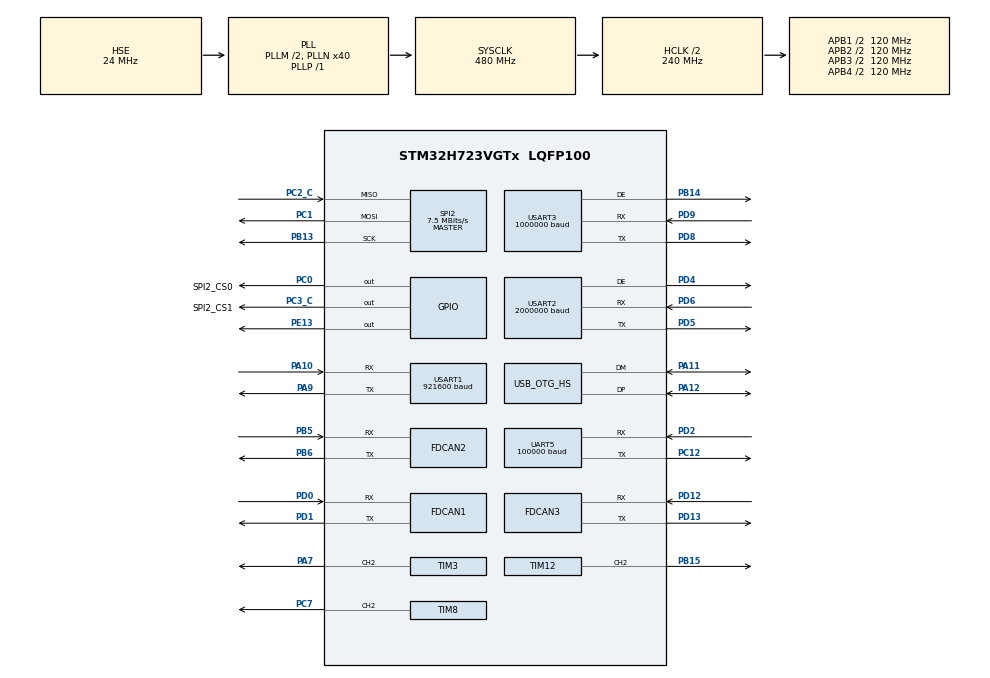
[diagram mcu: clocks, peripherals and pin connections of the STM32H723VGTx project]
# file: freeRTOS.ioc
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Dma.Request0=SPI2_RX
Dma.Request1=SPI2_TX
Dma.Request2=UART5_RX
Dma.Request3=UART5_TX
Dma.Request4=TIM3_CH2
Dma.Request5=USART1_RX
Dma.Request6=USART2_TX
Dma.Request7=USART2_RX
Dma.SPI2_RX.0.Direction=DMA_PERIPH_TO_MEMORY
Dma.SPI2_RX.0.EventEnable=DISABLE
Dma.SPI2_RX.0.FIFOMode=DMA_FIFOMODE_DISABLE
Dma.SPI2_RX.0.Instance=DMA1_Stream0
Dma.SPI2_RX.0.MemDataAlignment=DMA_MDATAALIGN_BYTE
Dma.SPI2_RX.0.MemInc=DMA_MINC_ENABLE
Dma.SPI2_RX.0.Mode=DMA_NORMAL
Dma.SPI2_RX.0.PeriphDataAlignment=DMA_PDATAALIGN_BYTE
Dma.SPI2_RX.0.PeriphInc=DMA_PINC_DISABLE
Dma.SPI2_RX.0.Polarity=HAL_DMAMUX_REQ_GEN_RISING
Dma.SPI2_RX.0.Priority=DMA_PRIORITY_VERY_HIGH
Dma.SPI2_RX.0.RequestNumber=1
Dma.SPI2_RX.0.SignalID=NONE
Dma.SPI2_RX.0.SyncEnable=DISABLE
Dma.SPI2_RX.0.SyncPolarity=HAL_DMAMUX_SYNC_NO_EVENT
Dma.SPI2_RX.0.SyncRequestNumber=1
Dma.SPI2_RX.0.SyncSignalID=NONE
Dma.SPI2_TX.1.Direction=DMA_MEMORY_TO_PERIPH
Dma.SPI2_TX.1.EventEnable=DISABLE
Dma.SPI2_TX.1.FIFOMode=DMA_FIFOMODE_DISABLE
Dma.SPI2_TX.1.Instance=DMA1_Stream1
Dma.SPI2_TX.1.MemDataAlignment=DMA_MDATAALIGN_BYTE
Dma.SPI2_TX.1.MemInc=DMA_MINC_ENABLE
Dma.SPI2_TX.1.Mode=DMA_NORMAL
Dma.SPI2_TX.1.PeriphDataAlignment=DMA_PDATAALIGN_BYTE
Dma.SPI2_TX.1.PeriphInc=DMA_PINC_DISABLE
Dma.SPI2_TX.1.Polarity=HAL_DMAMUX_REQ_GEN_RISING
Dma.SPI2_TX.1.Priority=DMA_PRIORITY_HIGH
Dma.SPI2_TX.1.RequestNumber=1
Dma.SPI2_TX.1.SignalID=NONE
Dma.SPI2_TX.1.SyncEnable=DISABLE
Dma.SPI2_TX.1.SyncPolarity=HAL_DMAMUX_SYNC_NO_EVENT
Dma.SPI2_TX.1.SyncRequestNumber=1
Dma.SPI2_TX.1.SyncSignalID=NONE
Dma.TIM3_CH2.4.Direction=DMA_MEMORY_TO_PERIPH
Dma.TIM3_CH2.4.EventEnable=DISABLE
Dma.TIM3_CH2.4.FIFOMode=DMA_FIFOMODE_DISABLE
Dma.TIM3_CH2.4.Instance=DMA1_Stream4
Dma.TIM3_CH2.4.MemDataAlignment=DMA_MDATAALIGN_HALFWORD
Dma.TIM3_CH2.4.MemInc=DMA_MINC_ENABLE
Dma.TIM3_CH2.4.Mode=DMA_CIRCULAR
Dma.TIM3_CH2.4.PeriphDataAlignment=DMA_PDATAALIGN_HALFWORD
Dma.TIM3_CH2.4.PeriphInc=DMA_PINC_DISABLE
Dma.TIM3_CH2.4.Polarity=HAL_DMAMUX_REQ_GEN_RISING
Dma.TIM3_CH2.4.Priority=DMA_PRIORITY_LOW
Dma.TIM3_CH2.4.RequestNumber=1
Dma.TIM3_CH2.4.SignalID=NONE
Dma.TIM3_CH2.4.SyncEnable=DISABLE
Dma.TIM3_CH2.4.SyncPolarity=HAL_DMAMUX_SYNC_NO_EVENT
Dma.TIM3_CH2.4.SyncRequestNumber=1
Dma.TIM3_CH2.4.SyncSignalID=NONE
Dma.UART5_RX.2.Direction=DMA_PERIPH_TO_MEMORY
Dma.UART5_RX.2.EventEnable=DISABLE
Dma.UART5_RX.2.FIFOMode=DMA_FIFOMODE_DISABLE
Dma.UART5_RX.2.Instance=DMA1_Stream2
Dma.UART5_RX.2.MemDataAlignment=DMA_MDATAALIGN_BYTE
Dma.UART5_RX.2.MemInc=DMA_MINC_ENABLE
Dma.UART5_RX.2.Mode=DMA_NORMAL
Dma.UART5_RX.2.PeriphDataAlignment=DMA_PDATAALIGN_BYTE
Dma.UART5_RX.2.PeriphInc=DMA_PINC_DISABLE
Dma.UART5_RX.2.Polarity=HAL_DMAMUX_REQ_GEN_RISING
Dma.UART5_RX.2.Priority=DMA_PRIORITY_LOW
Dma.UART5_RX.2.RequestNumber=1
Dma.UART5_RX.2.SignalID=NONE
Dma.UART5_RX.2.SyncEnable=DISABLE
Dma.UART5_RX.2.SyncPolarity=HAL_DMAMUX_SYNC_NO_EVENT
Dma.UART5_RX.2.SyncRequestNumber=1
Dma.UART5_RX.2.SyncSignalID=NONE
Dma.UART5_TX.3.Direction=DMA_MEMORY_TO_PERIPH
Dma.UART5_TX.3.EventEnable=DISABLE
Dma.UART5_TX.3.FIFOMode=DMA_FIFOMODE_DISABLE
Dma.UART5_TX.3.Instance=DMA1_Stream3
Dma.UART5_TX.3.MemDataAlignment=DMA_MDATAALIGN_BYTE
Dma.UART5_TX.3.MemInc=DMA_MINC_ENABLE
Dma.UART5_TX.3.Mode=DMA_NORMAL
Dma.UART5_TX.3.PeriphDataAlignment=DMA_PDATAALIGN_BYTE
Dma.UART5_TX.3.PeriphInc=DMA_PINC_DISABLE
Dma.UART5_TX.3.Polarity=HAL_DMAMUX_REQ_GEN_RISING
Dma.UART5_TX.3.Priority=DMA_PRIORITY_LOW
Dma.UART5_TX.3.RequestNumber=1
Dma.UART5_TX.3.SignalID=NONE
Dma.UART5_TX.3.SyncEnable=DISABLE
Dma.UART5_TX.3.SyncPolarity=HAL_DMAMUX_SYNC_NO_EVENT
Dma.UART5_TX.3.SyncRequestNumber=1
Dma.UART5_TX.3.SyncSignalID=NONE
Dma.USART1_RX.5.Direction=DMA_PERIPH_TO_MEMORY
Dma.USART1_RX.5.EventEnable=DISABLE
Dma.USART1_RX.5.FIFOMode=DMA_FIFOMODE_DISABLE
Dma.USART1_RX.5.Instance=DMA2_Stream4
Dma.USART1_RX.5.MemDataAlignment=DMA_MDATAALIGN_BYTE
Dma.USART1_RX.5.MemInc=DMA_MINC_ENABLE
Dma.USART1_RX.5.Mode=DMA_NORMAL
Dma.USART1_RX.5.PeriphDataAlignment=DMA_PDATAALIGN_BYTE
Dma.USART1_RX.5.PeriphInc=DMA_PINC_DISABLE
Dma.USART1_RX.5.Polarity=HAL_DMAMUX_REQ_GEN_RISING
Dma.USART1_RX.5.Priority=DMA_PRIORITY_LOW
Dma.USART1_RX.5.RequestNumber=1
Dma.USART1_RX.5.SignalID=NONE
Dma.USART1_RX.5.SyncEnable=DISABLE
Dma.USART1_RX.5.SyncPolarity=HAL_DMAMUX_SYNC_NO_EVENT
Dma.USART1_RX.5.SyncRequestNumber=1
Dma.USART1_RX.5.SyncSignalID=NONE
Dma.USART2_RX.7.Direction=DMA_PERIPH_TO_MEMORY
Dma.USART2_RX.7.EventEnable=DISABLE
Dma.USART2_RX.7.FIFOMode=DMA_FIFOMODE_DISABLE
Dma.USART2_RX.7.Instance=DMA2_Stream0
Dma.USART2_RX.7.MemDataAlignment=DMA_MDATAALIGN_BYTE
Dma.USART2_RX.7.MemInc=DMA_MINC_ENABLE
Dma.USART2_RX.7.Mode=DMA_NORMAL
Dma.USART2_RX.7.PeriphDataAlignment=DMA_PDATAALIGN_BYTE
Dma.USART2_RX.7.PeriphInc=DMA_PINC_DISABLE
Dma.USART2_RX.7.Polarity=HAL_DMAMUX_REQ_GEN_RISING
Dma.USART2_RX.7.Priority=DMA_PRIORITY_LOW
Dma.USART2_RX.7.RequestNumber=1
Dma.USART2_RX.7.SignalID=NONE
Dma.USART2_RX.7.SyncEnable=DISABLE
Dma.USART2_RX.7.SyncPolarity=HAL_DMAMUX_SYNC_NO_EVENT
Dma.USART2_RX.7.SyncRequestNumber=1
Dma.USART2_RX.7.SyncSignalID=NONE
Dma.USART2_TX.6.Direction=DMA_MEMORY_TO_PERIPH
Dma.USART2_TX.6.EventEnable=DISABLE
Dma.USART2_TX.6.FIFOMode=DMA_FIFOMODE_DISABLE
Dma.USART2_TX.6.Instance=DMA1_Stream7
Dma.USART2_TX.6.MemDataAlignment=DMA_MDATAALIGN_BYTE
Dma.USART2_TX.6.MemInc=DMA_MINC_ENABLE
Dma.USART2_TX.6.Mode=DMA_NORMAL
Dma.USART2_TX.6.PeriphDataAlignment=DMA_PDATAALIGN_BYTE
Dma.USART2_TX.6.PeriphInc=DMA_PINC_DISABLE
Dma.USART2_TX.6.Polarity=HAL_DMAMUX_REQ_GEN_RISING
Dma.USART2_TX.6.Priority=DMA_PRIORITY_LOW
Dma.USART2_TX.6.RequestNumber=1
Dma.USART2_TX.6.SignalID=NONE
Dma.USART2_TX.6.SyncEnable=DISABLE
Dma.USART2_TX.6.SyncPolarity=HAL_DMAMUX_SYNC_NO_EVENT
Dma.USART2_TX.6.SyncRequestNumber=1
Dma.USART2_TX.6.SyncSignalID=NONE
FDCAN1.AutoRetransmission=DISABLE
FDCAN1.CalculateBaudRateNominal=1000000
FDCAN1.CalculateTimeBitNominal=1000
FDCAN1.CalculateTimeQuantumNominal=25.0
FDCAN1.DataPrescaler=1
FDCAN1.DataSyncJumpWidth=2
FDCAN1.DataTimeSeg1=13
FDCAN1.DataTimeSeg2=2
FDCAN1.ExtFiltersNbr=4
FDCAN1.NominalPrescaler=3
FDCAN1.NominalSyncJumpWidth=20
FDCAN1.NominalTimeSeg1=29
FDCAN1.NominalTimeSeg2=10
FDCAN1.ProtocolException=ENABLE
FDCAN1.RxBuffersNbr=2
FDCAN1.RxFifo0ElmtsNbr=8
FDCAN1.RxFifo1ElmtsNbr=8
FDCAN1.StdFiltersNbr=4
FDCAN1.TxBuffersNbr=8
FDCAN1.TxEventsNbr=8
FDCAN1.TxFifoQueueElmtsNbr=32
FDCAN2.AutoRetransmission=ENABLE
FDCAN2.CalculateBaudRateNominal=1000000
FDCAN2.CalculateTimeBitNominal=1000
FDCAN2.CalculateTimeQuantumNominal=25.0
FDCAN2.DataSyncJumpWidth=2
FDCAN2.DataTimeSeg1=13
FDCAN2.ExtFiltersNbr=4
FDCAN2.MessageRAMOffset=0x406
FDCAN2.NominalPrescaler=3
FDCAN2.NominalSyncJumpWidth=20
FDCAN2.NominalTimeSeg1=29
FDCAN2.NominalTimeSeg2=10
FDCAN2.ProtocolException=ENABLE
FDCAN2.RxBuffersNbr=3
FDCAN2.RxFifo0ElmtsNbr=8
FDCAN2.RxFifo1ElmtsNbr=8
FDCAN2.StdFiltersNbr=4
FDCAN2.TxBuffersNbr=8
FDCAN2.TxEventsNbr=8
FDCAN2.TxFifoQueueElmtsNbr=8
FDCAN3.CalculateBaudRateNominal=1000000
FDCAN3.CalculateTimeBitNominal=1000
FDCAN3.CalculateTimeQuantumNominal=25.0
FDCAN3.DataPrescaler=3
FDCAN3.DataSyncJumpWidth=10
FDCAN3.DataTimeSeg1=29
FDCAN3.DataTimeSeg2=10
FDCAN3.MessageRAMOffset=0x812
FDCAN3.NominalPrescaler=3
FDCAN3.NominalSyncJumpWidth=10
FDCAN3.NominalTimeSeg1=29
FDCAN3.NominalTimeSeg2=10
FDCAN3.ProtocolException=ENABLE
FDCAN3.RxFifo0ElmtsNbr=4
FDCAN3.StdFiltersNbr=1
FDCAN3.TxEventsNbr=0
FDCAN3.TxFifoQueueElmtsNbr=4
FREERTOS.INCLUDE_pcTaskGetTaskName=1
FREERTOS.INCLUDE_xSemaphoreGetMutexHolder=1
FREERTOS.INCLUDE_xTaskAbortDelay=1
FREERTOS.INCLUDE_xTaskGetCurrentTaskHandle=1
FREERTOS.INCLUDE_xTaskGetHandle=1
FREERTOS.Tasks01=defaultTask,0,2048,StartDefaultTask,As weak,NULL,Dynamic,NULL,NULL;IMUTask,1,1024,OS_IMUCallback,As weak,NULL,Dynamic,NULL,NULL;LEDTask,-1,128,OS_LedCallback,As weak,NULL,Dynamic,NULL,NULL;MotorTask,0,512,OS_MotorCallback,As weak,NULL,Dynamic,NULL,NULL;ChassisTask,0,1024,OS_ChassisCallback,As weak,NULL,Dynamic,NULL,NULL;RcTask,1,256,OS_RcCallback,As weak,NULL,Dynamic,NULL,NULL;ErrorTask,3,1024,OS_ErrorCallback,As weak,NULL,Dynamic,NULL,NULL;GimbalTask,0,512,OS_GimbalCallback,As weak,NULL,Dynamic,NULL,NULL;ShooterTask,0,512,OS_ShooterCallback,As weak,NULL,Dynamic,NULL,NULL;VisionTask,0,1024,OS_VisionCallback,As weak,NULL,Dynamic,NULL,NULL;JudgeTask,0,1024,OS_JudgeCallback,As weak,NULL,Dynamic,NULL,NULL;DetectTask,0,128,OS_DetectCallback,As weak,NULL,Dynamic,NULL,NULL;BeepTask,0,128,OS_BeepCallback,As weak,NULL,Dynamic,NULL,NULL;SuperCapTask,0,256,OS_SuperCapCallback,As weak,NULL,Dynamic,NULL,NULL;rmvisionTask,-1,512,OS_RmVisionCallBack,As weak,NULL,Dynamic,NULL,NULL;UITask,0,2048,OS_UICallBack,As weak,NULL,Dynamic,NULL,NULL;RS485Task,0,128,OS_Board2BoardCallback,As weak,NULL,Dynamic,NULL,NULL
FREERTOS.configCHECK_FOR_STACK_OVERFLOW=0
FREERTOS.configMAX_CO_ROUTINE_PRIORITIES=5
FREERTOS.configTOTAL_HEAP_SIZE=100000
Mcu.Family=STM32H7
Mcu.Name=STM32H723VGTx
Mcu.Package=LQFP100
NVIC.DMA1_Stream0_IRQn=true\:5\:0\:false\:false\:true\:true\:false\:true\:true
NVIC.DMA1_Stream1_IRQn=true\:5\:0\:false\:false\:true\:true\:false\:true\:true
NVIC.DMA1_Stream2_IRQn=true\:5\:0\:false\:false\:true\:true\:false\:true\:true
NVIC.DMA1_Stream3_IRQn=true\:5\:0\:false\:false\:true\:true\:false\:true\:true
NVIC.DMA1_Stream4_IRQn=true\:5\:0\:false\:false\:true\:true\:false\:true\:true
NVIC.DMA1_Stream7_IRQn=true\:5\:0\:false\:false\:true\:true\:false\:true\:true
NVIC.DMA2_Stream0_IRQn=true\:5\:0\:false\:false\:true\:true\:false\:true\:true
NVIC.DMA2_Stream4_IRQn=true\:5\:0\:false\:false\:true\:true\:false\:true\:true
NVIC.FDCAN1_IT0_IRQn=true\:5\:0\:false\:false\:true\:true\:true\:true\:true
NVIC.FDCAN1_IT1_IRQn=true\:5\:0\:false\:false\:true\:true\:true\:true\:true
NVIC.FDCAN2_IT0_IRQn=true\:5\:0\:false\:false\:true\:true\:true\:true\:true
NVIC.FDCAN2_IT1_IRQn=true\:5\:0\:false\:false\:true\:true\:true\:true\:true
NVIC.FDCAN3_IT0_IRQn=true\:5\:0\:false\:false\:true\:true\:true\:true\:true
NVIC.FDCAN3_IT1_IRQn=true\:5\:0\:false\:false\:true\:true\:true\:true\:true
NVIC.OTG_HS_IRQn=true\:5\:0\:false\:false\:true\:true\:false\:true\:true
NVIC.PriorityGroup=NVIC_PRIORITYGROUP_4
NVIC.SPI2_IRQn=true\:5\:0\:false\:false\:true\:true\:true\:true\:true
NVIC.TIM2_IRQn=true\:15\:0\:false\:false\:true\:false\:false\:true\:true
NVIC.TIM8_BRK_TIM12_IRQn=true\:5\:0\:false\:false\:true\:true\:true\:true\:true
NVIC.TimeBase=TIM2_IRQn
NVIC.TimeBaseIP=TIM2
NVIC.UART5_IRQn=true\:5\:0\:false\:false\:true\:true\:true\:true\:true
NVIC.USART1_IRQn=true\:5\:0\:false\:false\:true\:true\:true\:true\:true
NVIC.USART2_IRQn=true\:5\:0\:false\:false\:true\:true\:true\:true\:true
NVIC.USART3_IRQn=true\:5\:0\:false\:false\:true\:true\:true\:true\:true
PA10.Mode=Asynchronous
PA10.Signal=USART1_RX
PA11.Mode=Device_Only_FS
PA11.Signal=USB_OTG_HS_DM
PA12.Mode=Device_Only_FS
PA12.Signal=USB_OTG_HS_DP
PA13(JTMS/SWDIO).Mode=Serial_Wire
PA13(JTMS/SWDIO).Signal=DEBUG_JTMS-SWDIO
PA14(JTCK/SWCLK).Mode=Serial_Wire
PA14(JTCK/SWCLK).Signal=DEBUG_JTCK-SWCLK
PA7.Signal=S_TIM3_CH2
PA9.Mode=Asynchronous
PA9.Signal=USART1_TX
PB13.GPIO_Speed=GPIO_SPEED_FREQ_VERY_HIGH
PB13.Mode=Full_Duplex_Master
PB13.Signal=SPI2_SCK
PB14.Mode=Hardware Flow Control (RS485)
PB14.Signal=USART3_DE
PB15.Signal=S_TIM12_CH2
PB5.Mode=FDCAN_Activate
PB5.Signal=FDCAN2_RX
PB6.Mode=FDCAN_Activate
PB6.Signal=FDCAN2_TX
PC0.GPIO_Label=SPI2_CS0
PC0.GPIO_PuPd=GPIO_NOPULL
PC0.GPIO_Speed=GPIO_SPEED_FREQ_HIGH
PC0.PinState=GPIO_PIN_SET
PC0.Signal=GPIO_Output
PC1.GPIO_Speed=GPIO_SPEED_FREQ_VERY_HIGH
PC1.Mode=Full_Duplex_Master
PC1.Signal=SPI2_MOSI
PC12.Mode=Asynchronous
PC12.Signal=UART5_TX
PC2_C.GPIO_Speed=GPIO_SPEED_FREQ_VERY_HIGH
PC2_C.Mode=Full_Duplex_Master
PC2_C.Signal=SPI2_MISO
PC3_C.GPIO_Label=SPI2_CS1
PC3_C.GPIO_PuPd=GPIO_NOPULL
PC3_C.GPIO_Speed=GPIO_SPEED_FREQ_HIGH
PC3_C.PinState=GPIO_PIN_SET
PC3_C.Signal=GPIO_Output
PC7.Signal=S_TIM8_CH2
PD0.Mode=FDCAN_Activate
PD0.Signal=FDCAN1_RX
PD1.Mode=FDCAN_Activate
PD1.Signal=FDCAN1_TX
PD12.Mode=FDCAN_Activate
PD12.Signal=FDCAN3_RX
PD13.Mode=FDCAN_Activate
PD13.Signal=FDCAN3_TX
PD2.Mode=Asynchronous
PD2.Signal=UART5_RX
PD4.Mode=Hardware Flow Control (RS485)
PD4.Signal=USART2_DE
PD5.Mode=Asynchronous
PD5.Signal=USART2_TX
PD6.Mode=Asynchronous
PD6.Signal=USART2_RX
PD8.Mode=Asynchronous
PD8.Signal=USART3_TX
PD9.Mode=Asynchronous
PD9.Signal=USART3_RX
PE13.GPIO_PuPd=GPIO_PULLDOWN
PE13.Signal=GPIO_Output
PH0-OSC_IN.Mode=HSE-External-Oscillator
PH0-OSC_IN.Signal=RCC_OSC_IN
PH1-OSC_OUT.Mode=HSE-External-Oscillator
PH1-OSC_OUT.Signal=RCC_OSC_OUT
ProjectManager.HeapSize=0x3000
ProjectManager.StackSize=0x3000
ProjectManager.TargetToolchain=CMake
RCC.ADCFreq_Value=48375000
RCC.APB1Freq_Value=120000000
RCC.APB2Freq_Value=120000000
RCC.APB3Freq_Value=120000000
RCC.APB4Freq_Value=120000000
RCC.CortexFreq_Value=480000000
RCC.D1PPRE=RCC_APB3_DIV2
RCC.D2PPRE1=RCC_APB1_DIV2
RCC.D2PPRE2=RCC_APB2_DIV2
RCC.D3PPRE=RCC_APB4_DIV2
RCC.DIVM1=2
RCC.DIVN1=40
RCC.DIVP1=1
RCC.DIVQ1=4
RCC.HCLKFreq_Value=240000000
RCC.HPRE=RCC_HCLK_DIV2
RCC.HSE_VALUE=24000000
RCC.PLLFRACN=0
RCC.PLLSourceVirtual=RCC_PLLSOURCE_HSE
RCC.SYSCLKFreq_VALUE=480000000
RCC.SYSCLKSource=RCC_SYSCLKSOURCE_PLLCLK
RCC.USBCLockSelection=RCC_USBCLKSOURCE_HSI48
RCC.USBFreq_Value=48000000
SH.S_TIM12_CH2.0=TIM12_CH2,PWM Generation2 CH2
SH.S_TIM3_CH2.0=TIM3_CH2,PWM Generation2 CH2
SH.S_TIM8_CH2.0=TIM8_CH2,PWM Generation2 CH2
SPI2.BaudRatePrescaler=SPI_BAUDRATEPRESCALER_16
SPI2.CLKPhase=SPI_PHASE_2EDGE
SPI2.CLKPolarity=SPI_POLARITY_HIGH
SPI2.CalculateBaudRate=7.5 MBits/s
SPI2.DataSize=SPI_DATASIZE_8BIT
SPI2.Direction=SPI_DIRECTION_2LINES
SPI2.Mode=SPI_MODE_MASTER
SPI2.VirtualType=VM_MASTER
TIM12.Channel-PWM\ Generation2\ CH2=TIM_CHANNEL_2
TIM12.Period=1000-1
TIM12.Prescaler=240-1
TIM3.Channel-PWM\ Generation2\ CH2=TIM_CHANNEL_2
TIM3.Period=299
TIM8.Channel-PWM\ Generation2\ CH2=TIM_CHANNEL_2
TIM8.Period=20000-1
TIM8.Prescaler=240-1
UART5.BaudRate=100000
UART5.Parity=PARITY_EVEN
UART5.WordLength=WORDLENGTH_9B
USART1.BaudRate=921600
USART1.VirtualMode-Asynchronous=VM_ASYNC
USART2.BaudRate=2000000
USART2.Parity=PARITY_EVEN
USART2.VirtualMode-Asynchronous=VM_ASYNC
USART2.VirtualMode-Hardware\ Flow\ Control\ (RS485)=VM_ASYNC
USART2.WordLength=WORDLENGTH_9B
USART3.BaudRate=1000000
USART3.Parity=PARITY_EVEN
USART3.VirtualMode-Asynchronous=VM_ASYNC
USART3.VirtualMode-Hardware\ Flow\ Control\ (RS485)=VM_ASYNC
USART3.WordLength=WORDLENGTH_9B
USB_DEVICE.CLASS_NAME_HS=CDC
USB_DEVICE.VirtualMode=Cdc
USB_DEVICE.VirtualModeHS=Cdc_HS
USB_OTG_HS.VirtualMode-Device_Only_FS=Device_Only_FS
VP_FREERTOS_VS_CMSIS_V1.Mode=CMSIS_V1
VP_MEMORYMAP_VS_MEMORYMAP.Mode=CurAppReg
VP_SYS_VS_tim2.Mode=TIM2
VP_USB_DEVICE_VS_USB_DEVICE_CDC_HS.Mode=CDC_HS
board=custom

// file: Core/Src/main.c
/* USER CODE BEGIN Header */
/**
  ******************************************************************************
  * @file           : main.c
  * @brief          : Main program body
  ******************************************************************************
  * @attention
  *
  * Copyright (c) 2025 STMicroelectronics.
  * All rights reserved.
  *
  * This software is licensed under terms that can be found in the LICENSE file
  * in the root directory of this software component.
  * If no LICENSE file comes with this software, it is provided AS-IS.
  *
  ******************************************************************************
  */
/* USER CODE END Header */
#include "main.h"
#include "cmsis_os.h"
#include "dma.h"
#include "fdcan.h"
#include "memorymap.h"
#include "spi.h"
#include "tim.h"
#include "usart.h"
#include "usb_device.h"
#include "gpio.h"

void SystemClock_Config(void);
void MX_FREERTOS_Init(void);
/* USER CODE BEGIN PFP */
#include "bsp_delay.h"
#include "stdio.h"
#include "ins_task.h"
#include "BMI088driver.h"
#include "bsp_dwt.h"
#include "USER_CAN.h"
#include "Chassis.h"
#include "Moto.h"
#include "RC.h"
#include "Gimbal.h"
#include "Shooter.h"
#include "Judge.h"
#include "Beep.h"
#include "Detect.h"
#include "Vision.h"
#include "RS485.h"
#include "Com.h"
# include "Board2Board.h"
/* USER CODE END PFP */

int main(void)
{

  /* MCU Configuration--------------------------------------------------------*/

  /* Reset of all peripherals, Initializes the Flash interface and the Systick. */

  HAL_Init();

  /* Configure the system clock */
  SystemClock_Config();

  /* Initialize all configured peripherals */
  MX_GPIO_Init();
  MX_DMA_Init();
  MX_FDCAN2_Init();
  MX_SPI2_Init();
  MX_TIM3_Init();
  MX_UART5_Init();
  MX_TIM8_Init();
  MX_USART2_UART_Init();
  MX_TIM12_Init();
  MX_FDCAN1_Init();
  MX_FDCAN3_Init();
  MX_USART3_UART_Init();
  MX_USART1_UART_Init();
  /* USER CODE BEGIN 2 */
  DWT_Init(480);
	while (BMI088_init(&hspi2, 0) != BMI088_NO_ERROR);
	RS485_Init();
//  JUDGE_Init();
  CAN_Init();
  RC_Init();
  INS_Init();
  Chassis_Init();
  Gimbal_Init();
  Beep_Init();
  Detect_InitAll();
  MX_USB_DEVICE_Init();
  /* USER CODE END 2 */

  /* Call init function for freertos objects (in cmsis_os2.c) */
  MX_FREERTOS_Init();

  /* Start scheduler */
  osKernelStart();

  /* We should never get here as control is now taken by the scheduler */

  /* Infinite loop */
  while (1)
  {

  }
}

void SystemClock_Config(void)
{
  RCC_OscInitTypeDef RCC_OscInitStruct = {0};
  RCC_ClkInitTypeDef RCC_ClkInitStruct = {0};

  /** Supply configuration update enable
  */
  HAL_PWREx_ConfigSupply(PWR_LDO_SUPPLY);

  /** Configure the main internal regulator output voltage
  */
  __HAL_PWR_VOLTAGESCALING_CONFIG(PWR_REGULATOR_VOLTAGE_SCALE0);

  while(!__HAL_PWR_GET_FLAG(PWR_FLAG_VOSRDY)) {}

  /** Initializes the RCC Oscillators according to the specified parameters
  * in the RCC_OscInitTypeDef structure.
  */
  RCC_OscInitStruct.OscillatorType = RCC_OSCILLATORTYPE_HSI48|RCC_OSCILLATORTYPE_HSE;
  RCC_OscInitStruct.HSEState = RCC_HSE_ON;
  RCC_OscInitStruct.HSI48State = RCC_HSI48_ON;
  RCC_OscInitStruct.PLL.PLLState = RCC_PLL_ON;
  RCC_OscInitStruct.PLL.PLLSource = RCC_PLLSOURCE_HSE;
  RCC_OscInitStruct.PLL.PLLM = 2;
  RCC_OscInitStruct.PLL.PLLN = 40;
  RCC_OscInitStruct.PLL.PLLP = 1;
  RCC_OscInitStruct.PLL.PLLQ = 4;
  RCC_OscInitStruct.PLL.PLLR = 2;
  RCC_OscInitStruct.PLL.PLLRGE = RCC_PLL1VCIRANGE_3;
  RCC_OscInitStruct.PLL.PLLVCOSEL = RCC_PLL1VCOWIDE;
  RCC_OscInitStruct.PLL.PLLFRACN = 0;
  if (HAL_RCC_OscConfig(&RCC_OscInitStruct) != HAL_OK)
  {
    Error_Handler();
  }

  /** Initializes the CPU, AHB and APB buses clocks
  */
  RCC_ClkInitStruct.ClockType = RCC_CLOCKTYPE_HCLK|RCC_CLOCKTYPE_SYSCLK
                              |RCC_CLOCKTYPE_PCLK1|RCC_CLOCKTYPE_PCLK2
                              |RCC_CLOCKTYPE_D3PCLK1|RCC_CLOCKTYPE_D1PCLK1;
  RCC_ClkInitStruct.SYSCLKSource = RCC_SYSCLKSOURCE_PLLCLK;
  RCC_ClkInitStruct.SYSCLKDivider = RCC_SYSCLK_DIV1;
  RCC_ClkInitStruct.AHBCLKDivider = RCC_HCLK_DIV2;
  RCC_ClkInitStruct.APB3CLKDivider = RCC_APB3_DIV2;
  RCC_ClkInitStruct.APB1CLKDivider = RCC_APB1_DIV2;
  RCC_ClkInitStruct.APB2CLKDivider = RCC_APB2_DIV2;
  RCC_ClkInitStruct.APB4CLKDivider = RCC_APB4_DIV2;

  if (HAL_RCC_ClockConfig(&RCC_ClkInitStruct, FLASH_LATENCY_3) != HAL_OK)
  {
    Error_Handler();
  }
}

void HAL_TIM_PeriodElapsedCallback(TIM_HandleTypeDef *htim)
{
  if (htim->Instance == TIM2)
  {
    HAL_IncTick();
  }
}

void Error_Handler(void)
{
  __disable_irq();
  while (1)
  {
  }
}

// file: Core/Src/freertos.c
/* USER CODE BEGIN Header */
/**
  ******************************************************************************
  * File Name          : freertos.c
  * Description        : Code for freertos applications
  ******************************************************************************
  * @attention
  *
  * Copyright (c) 2025 STMicroelectronics.
  * All rights reserved.
  *
  * This software is licensed under terms that can be found in the LICENSE file
  * in the root directory of this software component.
  * If no LICENSE file comes with this software, it is provided AS-IS.
  *
  ******************************************************************************
  */
/* USER CODE END Header */

#include "FreeRTOS.h"
#include "task.h"
#include "main.h"
#include "cmsis_os.h"

osThreadId defaultTaskHandle;
osThreadId IMUTaskHandle;
osThreadId LEDTaskHandle;
osThreadId MotorTaskHandle;
osThreadId ChassisTaskHandle;
osThreadId RcTaskHandle;
osThreadId ErrorTaskHandle;
osThreadId GimbalTaskHandle;
osThreadId ShooterTaskHandle;
osThreadId VisionTaskHandle;
osThreadId JudgeTaskHandle;
osThreadId DetectTaskHandle;
osThreadId BeepTaskHandle;
osThreadId SuperCapTaskHandle;
osThreadId rmvisionTaskHandle;
osThreadId UITaskHandle;
osThreadId RS485TaskHandle;

void StartDefaultTask(void const * argument);
void OS_IMUCallback(void const * argument);
void OS_LedCallback(void const * argument);
void OS_MotorCallback(void const * argument);
void OS_ChassisCallback(void const * argument);
void OS_RcCallback(void const * argument);
void OS_ErrorCallback(void const * argument);
void OS_GimbalCallback(void const * argument);
void OS_ShooterCallback(void const * argument);
void OS_VisionCallback(void const * argument);
void OS_JudgeCallback(void const * argument);
void OS_DetectCallback(void const * argument);
void OS_BeepCallback(void const * argument);
void OS_SuperCapCallback(void const * argument);
void OS_RmVisionCallBack(void const * argument);
void OS_UICallBack(void const * argument);
void OS_Board2BoardCallback(void const * argument);

extern void MX_USB_DEVICE_Init(void);
void MX_FREERTOS_Init(void); /* (MISRA C 2004 rule 8.1) */

/* GetIdleTaskMemory prototype (linked to static allocation support) */
void vApplicationGetIdleTaskMemory( StaticTask_t **ppxIdleTaskTCBBuffer, StackType_t **ppxIdleTaskStackBuffer, uint32_t *pulIdleTaskStackSize );

/* USER CODE BEGIN GET_IDLE_TASK_MEMORY */
static StaticTask_t xIdleTaskTCBBuffer;
static StackType_t xIdleStack[configMINIMAL_STACK_SIZE];

void vApplicationGetIdleTaskMemory( StaticTask_t **ppxIdleTaskTCBBuffer, StackType_t **ppxIdleTaskStackBuffer, uint32_t *pulIdleTaskStackSize )
{
  *ppxIdleTaskTCBBuffer = &xIdleTaskTCBBuffer;
  *ppxIdleTaskStackBuffer = &xIdleStack[0];
  *pulIdleTaskStackSize = configMINIMAL_STACK_SIZE;
  /* place for user code */
}
/* USER CODE END GET_IDLE_TASK_MEMORY */

void MX_FREERTOS_Init(void) {

  /* Create the thread(s) */
  /* definition and creation of defaultTask */
  osThreadDef(defaultTask, StartDefaultTask, osPriorityNormal, 0, 2048);
  defaultTaskHandle = osThreadCreate(osThread(defaultTask), NULL);

  /* definition and creation of IMUTask */
  osThreadDef(IMUTask, OS_IMUCallback, osPriorityAboveNormal, 0, 1024);
  IMUTaskHandle = osThreadCreate(osThread(IMUTask), NULL);

  /* definition and creation of LEDTask */
  osThreadDef(LEDTask, OS_LedCallback, osPriorityBelowNormal, 0, 128);
  LEDTaskHandle = osThreadCreate(osThread(LEDTask), NULL);

  /* definition and creation of MotorTask */
  osThreadDef(MotorTask, OS_MotorCallback, osPriorityNormal, 0, 512);
  MotorTaskHandle = osThreadCreate(osThread(MotorTask), NULL);

  /* definition and creation of ChassisTask */
  osThreadDef(ChassisTask, OS_ChassisCallback, osPriorityNormal, 0, 1024);
  ChassisTaskHandle = osThreadCreate(osThread(ChassisTask), NULL);

  /* definition and creation of RcTask */
  osThreadDef(RcTask, OS_RcCallback, osPriorityAboveNormal, 0, 256);
  RcTaskHandle = osThreadCreate(osThread(RcTask), NULL);

  /* definition and creation of ErrorTask */
  osThreadDef(ErrorTask, OS_ErrorCallback, osPriorityRealtime, 0, 1024);
  ErrorTaskHandle = osThreadCreate(osThread(ErrorTask), NULL);

  /* definition and creation of GimbalTask */
  osThreadDef(GimbalTask, OS_GimbalCallback, osPriorityNormal, 0, 512);
  GimbalTaskHandle = osThreadCreate(osThread(GimbalTask), NULL);

  /* definition and creation of ShooterTask */
  osThreadDef(ShooterTask, OS_ShooterCallback, osPriorityNormal, 0, 512);
  ShooterTaskHandle = osThreadCreate(osThread(ShooterTask), NULL);

  /* definition and creation of VisionTask */
  osThreadDef(VisionTask, OS_VisionCallback, osPriorityNormal, 0, 1024);
  VisionTaskHandle = osThreadCreate(osThread(VisionTask), NULL);

  /* definition and creation of JudgeTask */
  osThreadDef(JudgeTask, OS_JudgeCallback, osPriorityNormal, 0, 1024);
  JudgeTaskHandle = osThreadCreate(osThread(JudgeTask), NULL);

  /* definition and creation of DetectTask */
  osThreadDef(DetectTask, OS_DetectCallback, osPriorityNormal, 0, 128);
  DetectTaskHandle = osThreadCreate(osThread(DetectTask), NULL);

  /* definition and creation of BeepTask */
  osThreadDef(BeepTask, OS_BeepCallback, osPriorityNormal, 0, 128);
  BeepTaskHandle = osThreadCreate(osThread(BeepTask), NULL);

  /* definition and creation of SuperCapTask */
  osThreadDef(SuperCapTask, OS_SuperCapCallback, osPriorityNormal, 0, 256);
  SuperCapTaskHandle = osThreadCreate(osThread(SuperCapTask), NULL);

  /* definition and creation of rmvisionTask */
  osThreadDef(rmvisionTask, OS_RmVisionCallBack, osPriorityBelowNormal, 0, 512);
  rmvisionTaskHandle = osThreadCreate(osThread(rmvisionTask), NULL);

  /* definition and creation of UITask */
  osThreadDef(UITask, OS_UICallBack, osPriorityNormal, 0, 2048);
  UITaskHandle = osThreadCreate(osThread(UITask), NULL);

  /* definition and creation of RS485Task */
  osThreadDef(RS485Task, OS_Board2BoardCallback, osPriorityNormal, 0, 128);
  RS485TaskHandle = osThreadCreate(osThread(RS485Task), NULL);

}

__weak void StartDefaultTask(void const * argument)
{
  /* init code for USB_DEVICE */
  MX_USB_DEVICE_Init();
  for(;;)
  {
    osDelay(1);
  }
}

__weak void OS_IMUCallback(void const * argument)
{
  for(;;)
  {
    osDelay(1);
  }
}

__weak void OS_LedCallback(void const * argument)
{
  for(;;)
  {
    osDelay(1);
  }
}

/* USER CODE BEGIN Header_OS_MotorCallback */
/**
* @brief pitch电机
* @param argument: Not used
* @retval None
*/
/* USER CODE END Header_OS_MotorCallback */
__weak void OS_MotorCallback(void const * argument)
{
  for(;;)
  {
    osDelay(1);
  }
}

/* USER CODE BEGIN Header_OS_ChassisCallback */
/**
* @brief 下板底盘上位机任务
* @param argument: Not used
* @retval None
*/
/* USER CODE END Header_OS_ChassisCallback */
__weak void OS_ChassisCallback(void const * argument)
{
  for(;;)
  {
    osDelay(1);
  }
}

/* USER CODE BEGIN Header_OS_RcCallback */
/**
* @brief 遥控器任务，//!但是没理解
* @param argument: Not used
* @retval None
*/
/* USER CODE END Header_OS_RcCallback */
__weak void OS_RcCallback(void const * argument)
{
  for(;;)
  {
    osDelay(1);
  }
}

/* USER CODE BEGIN Header_OS_ErrorCallback */
/**
* @brief 急停任务
* @param argument: Not used
* @retval None
*/
/* USER CODE END Header_OS_ErrorCallback */
__weak void OS_ErrorCallback(void const * argument)
{
  for(;;)
  {
    osDelay(1);
  }
}

/* USER CODE BEGIN Header_OS_GimbalCallback */
/**
* @brief 云台相关，包含yaw电机pid、自瞄相关、云台遥控器
* @param argument: Not used
* @retval None
*/
/* USER CODE END Header_OS_GimbalCallback */
__weak void OS_GimbalCallback(void const * argument)
{
  for(;;)
  {
    osDelay(1);
  }
}

__weak void OS_ShooterCallback(void const * argument)
{
  for(;;)
  {
    osDelay(1);
  }
}

__weak void OS_VisionCallback(void const * argument)
{
  for(;;)
  {
    osDelay(1);
  }
}

__weak void OS_JudgeCallback(void const * argument)
{
  for(;;)
  {
    osDelay(1);
  }
}

__weak void OS_DetectCallback(void const * argument)
{
  for(;;)
  {
    osDelay(1);
  }
}

__weak void OS_BeepCallback(void const * argument)
{
  for(;;)
  {
    osDelay(1);
  }
}

__weak void OS_SuperCapCallback(void const * argument)
{
  for(;;)
  {
    osDelay(1);
  }
}

__weak void OS_RmVisionCallBack(void const * argument)
{
  for(;;)
  {
    osDelay(1);
  }
}

__weak void OS_UICallBack(void const * argument)
{
  for(;;)
  {
    osDelay(1);
  }
}

__weak void OS_Board2BoardCallback(void const * argument)
{
  for(;;)
  {
    osDelay(1);
  }
}
